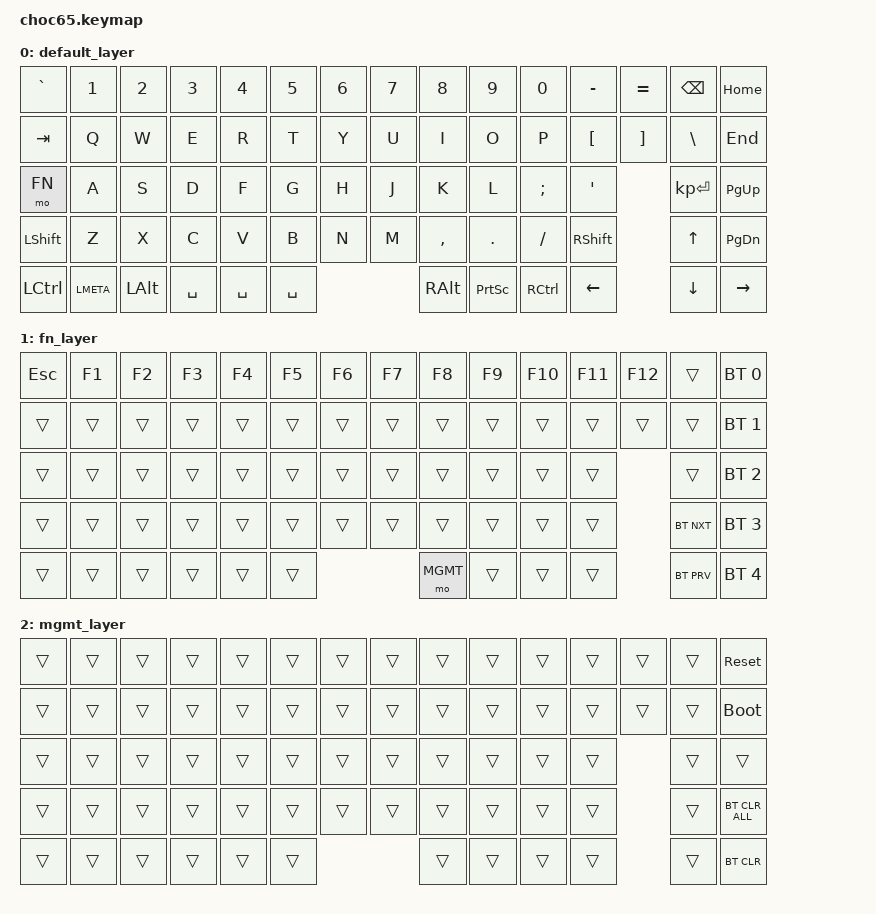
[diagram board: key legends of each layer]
#include <behaviors.dtsi>
#include <dt-bindings/zmk/keys.h>
#include <dt-bindings/zmk/bt.h>

#define LOWER 0
#define FN    1
#define MGMT  2

/ {
	keymap {
		compatible = "zmk,keymap";
		default_layer {
			// |  1  |  2  |  3  |  4  |  5  |  6  |  7  |  8  |  9  |  10 |  11 |  12 |  13 |   14 |   15 |
			// |-----|-----|-----|-----|-----|-----|-----|-----|-----|-----|-----|-----|-----|------|------|
			// |  ~  |  1  |  2  |  3  |  4  |  5  |  6  |  7  |  8  |  9  |  0  |  -  |  =  | Bksp | Home |
			// | Tab |  Q  |  W  |  E  |  R  |  T  |  Y  |  U  |  I  |  O  |  P  |  {  |  }  |   |  |  End |
			// | Cap |  A  |  S  |  D  |  F  |  G  |  H  |  J  |  K  |  L  |  ;  |  '  |     | Entr | PgUp |
			// | Shf |  Z  |  X  |  C  |  V  |  B  |  N  |  M  |  ,  |  .  |  /  | Shf |     | Up   | PgDn |
			// | Ctr | Mta | Alt | Sp1 | Sp2 |     | Sp3 |     | Alt | PtS | Ctr | Lft |     | Dn   | Rt
			bindings = <
				&kp GRAVE  &kp N1    &kp N2   &kp N3    &kp N4    &kp N5    &kp N6    &kp N7   &kp N8    &kp N9    &kp N0    &kp MINUS &kp EQUAL &kp BSPC     &kp HOME
				&kp TAB    &kp Q     &kp W    &kp E     &kp R     &kp T     &kp Y     &kp U    &kp I     &kp O     &kp P     &kp LBKT  &kp RBKT  &kp BSLH     &kp END
				&mo FN     &kp A     &kp S    &kp D     &kp F     &kp G     &kp H     &kp J    &kp K     &kp L     &kp SEMI  &kp APOS            &kp KP_ENTER &kp PG_UP
				&kp LSHFT  &kp Z     &kp X    &kp C     &kp V     &kp B     &kp N     &kp M    &kp COMMA &kp DOT   &kp FSLH  &kp RSHFT           &kp UP       &kp PG_DN
				&kp LCTRL  &kp LMETA &kp LALT &kp SPACE &kp SPACE &kp SPACE                    &kp RALT  &kp PSCRN &kp RCTRL &kp LEFT            &kp DOWN     &kp RIGHT           
			>;
		};
		fn_layer {
                        // |  1  |  2  |  3  |  4  |  5  |  6  |  7  |  8  |  9  |  10 |  11 |  12 |  13 |  14 |  15 |
                        // |-----|-----|-----|-----|-----|-----|-----|-----|-----|-----|-----|-----|-----|-----|-----|
                        // | ESC |  F1 |  F2 |  F3 |  F4 |  F5 |  F6 |  F7 |  F8 |  F9 | F10 | F11 | F12 | TR  | BT1 |
                        // | TR  | TR  | TR  | TR  | TR  | TR  | TR  | TR  | TR  | TR  | TR  | TR  | TR  | TR  | BT2 |
                        // | TR  | TR  | TR  | TR  | TR  | TR  | TR  | TR  | TR  | TR  | TR  | TR  |     | TR  | BT3 |
                        // | TR  | TR  | TR  | TR  | TR  | TR  | TR  | TR  | TR  | TR  | TR  | TR  |     | BTN | BT4 |
                        // | TR  | TR  | TR  | TR  | TR  |     |LMGMT|     | TR  | TR  | TR  | TR  |     | BTP | BT5 |
                        bindings = <
                                &kp ESCAPE      &kp F1 &kp F2 &kp F3 &kp F4 &kp F5 &kp F6 &kp F7 &kp F8   &kp F9 &kp F10 &kp F11 &kp F12 &trans     &bt BT_SEL 0
                                &trans          &trans &trans &trans &trans &trans &trans &trans &trans   &trans &trans  &trans  &trans  &trans     &bt BT_SEL 1
                                &trans          &trans &trans &trans &trans &trans &trans &trans &trans   &trans &trans  &trans          &trans     &bt BT_SEL 2
                                &trans          &trans &trans &trans &trans &trans &trans &trans &trans   &trans &trans  &trans          &bt BT_NXT &bt BT_SEL 3
                                &trans          &trans &trans &trans &trans        &trans        &mo MGMT &trans &trans  &trans          &bt BT_PRV &bt BT_SEL 4
                        >;
                };
                mgmt_layer {
                        // |  1  |  2  |  3  |  4  |  5  |  6  |  7  |  8  |  9  |  10 |  11 |  12 |  13 |  14 |  15 |
                        // |-----|-----|-----|-----|-----|-----|-----|-----|-----|-----|-----|-----|-----|-----|-----|
                        // | TR  | TR  | TR  | TR  | TR  | TR  | TR  | TR  | TR  | TR  | TR  | TR  | TR  | TR  | RBT |
                        // | TR  | TR  | TR  | TR  | TR  | TR  | TR  | TR  | TR  | TR  | TR  | TR  | TR  | TR  |BLDR |
                        // | TR  | TR  | TR  | TR  | TR  | TR  | TR  | TR  | TR  | TR  | TR  | TR  |     | TR  | TR  |
                        // | TR  | TR  | TR  | TR  | TR  | TR  | TR  | TR  | TR  | TR  | TR  | TR  |     | TR  |BTCA |
                        // | TR  | TR  | TR  | TR  | TR  |     | TR  |     | TR  | TR  | TR  | TR  |     | TR  |BTC  |
                        bindings = <
                                &trans   &trans &trans &trans &trans &trans &trans &trans &trans &trans &trans  &trans  &trans  &trans     &sys_reset
                                &trans   &trans &trans &trans &trans &trans &trans &trans &trans &trans &trans  &trans  &trans  &trans     &bootloader
                                &trans   &trans &trans &trans &trans &trans &trans &trans &trans &trans &trans  &trans          &trans     &trans
                                &trans   &trans &trans &trans &trans &trans &trans &trans &trans &trans &trans  &trans          &trans     &bt BT_CLR_ALL
                                &trans   &trans &trans &trans &trans        &trans        &trans &trans &trans  &trans          &trans     &bt BT_CLR
                        >;
                };
	};
};
